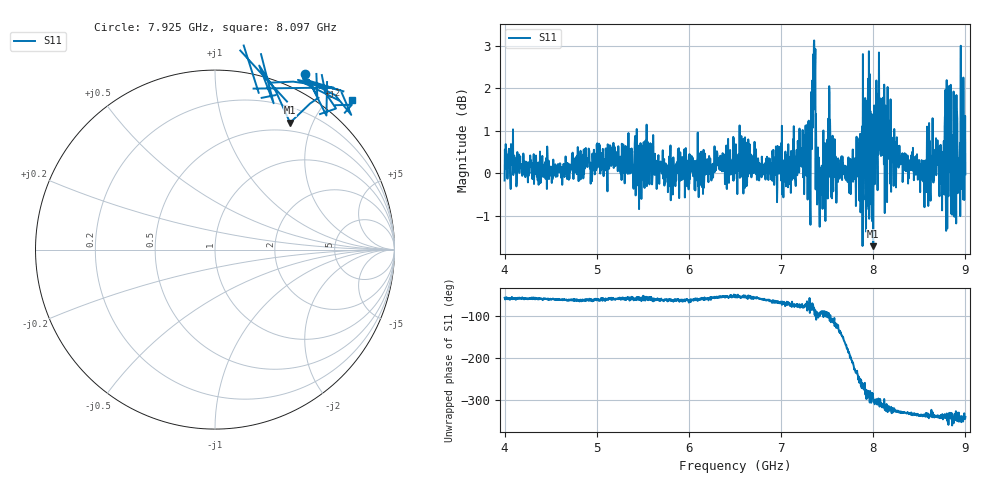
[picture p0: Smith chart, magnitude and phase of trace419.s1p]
! Created with skrf 1.8.0 (http://scikit-rf.org).
# Hz S RI R 50.0
!freq ReS11 ImS11
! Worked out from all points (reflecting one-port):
!   1601 points, 4 GHz to 9 GHz, reference 50 ohm
!   lowest |S11| = -1.7 dB at 8 GHz (marker M1), VSWR 10.20, Z = 19.4 + j84.3 ohm
!   phase of S11 starts at -57 deg and turns -283 deg over the sweep
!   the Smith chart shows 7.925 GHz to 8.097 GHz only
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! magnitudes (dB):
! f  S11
! 4 GHz  -0.2
! 4.625 GHz  -0.3
! 5.25 GHz  0.1
! 5.875 GHz  0.3
! 6.5 GHz  0.3
! 7.125 GHz  0.2
! 7.297 GHz  0.5
! 7.328 GHz  1.9
! 7.347 GHz  2.5
! 7.412 GHz  -0.1
! 7.519 GHz  0.2
! 7.609 GHz  0.1
! 7.75 GHz  -0.3
! 7.859 GHz  0.9
! 7.928 GHz  1.7
! 7.962 GHz  2.3
! 7.981 GHz  -0.7
! 8 GHz  -1.7
! 8.038 GHz  1.1
! 8.088 GHz  0.9
! 8.216 GHz  0.3
! 8.375 GHz  0.3
! 8.553 GHz  -0.1
! 8.766 GHz  0.8
! 8.819 GHz  1.3
! 8.869 GHz  -0.9
! 8.972 GHz  0.5
! 9 GHz  0.0
